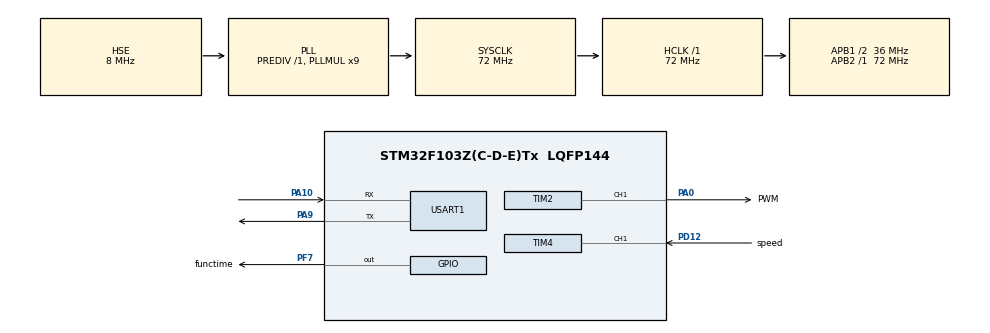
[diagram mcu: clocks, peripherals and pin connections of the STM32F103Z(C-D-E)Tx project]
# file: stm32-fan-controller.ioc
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Dma.Request0=USART1_TX
Dma.USART1_TX.0.Direction=DMA_MEMORY_TO_PERIPH
Dma.USART1_TX.0.Instance=DMA1_Channel4
Dma.USART1_TX.0.MemDataAlignment=DMA_MDATAALIGN_BYTE
Dma.USART1_TX.0.MemInc=DMA_MINC_ENABLE
Dma.USART1_TX.0.Mode=DMA_NORMAL
Dma.USART1_TX.0.PeriphDataAlignment=DMA_PDATAALIGN_BYTE
Dma.USART1_TX.0.PeriphInc=DMA_PINC_DISABLE
Dma.USART1_TX.0.Priority=DMA_PRIORITY_LOW
Mcu.Family=STM32F1
Mcu.Name=STM32F103Z(C-D-E)Tx
Mcu.Package=LQFP144
NVIC.DMA1_Channel4_IRQn=true\:0\:0\:false\:false\:true\:false\:true\:true
NVIC.PriorityGroup=NVIC_PRIORITYGROUP_4
NVIC.TIM2_IRQn=true\:0\:0\:false\:false\:true\:true\:true\:true
NVIC.TIM3_IRQn=true\:0\:0\:false\:false\:true\:true\:true\:true
NVIC.TIM4_IRQn=true\:0\:0\:false\:false\:true\:true\:true\:true
NVIC.USART1_IRQn=true\:0\:0\:false\:false\:true\:true\:true\:true
OSC_IN.Mode=HSE-External-Oscillator
OSC_IN.Signal=RCC_OSC_IN
OSC_OUT.Mode=HSE-External-Oscillator
OSC_OUT.Signal=RCC_OSC_OUT
PA0-WKUP.GPIO_Label=PWM
PA0-WKUP.GPIO_ModeDefaultPP=GPIO_MODE_AF_OD
PA0-WKUP.Signal=S_TIM2_CH1_ETR
PA10.Mode=Asynchronous
PA10.Signal=USART1_RX
PA13.Mode=Serial_Wire
PA13.Signal=SYS_JTMS-SWDIO
PA14.Mode=Serial_Wire
PA14.Signal=SYS_JTCK-SWCLK
PA9.Mode=Asynchronous
PA9.Signal=USART1_TX
PC14-OSC32_IN.Mode=LSE-External-Oscillator
PC14-OSC32_IN.Signal=RCC_OSC32_IN
PC15-OSC32_OUT.Mode=LSE-External-Oscillator
PC15-OSC32_OUT.Signal=RCC_OSC32_OUT
PD12.GPIO_Label=speed
PD12.GPIO_PuPd=GPIO_PULLUP
PD12.Signal=S_TIM4_CH1
PF7.GPIO_Label=functime
PF7.Signal=GPIO_Output
ProjectManager.HeapSize=0x200
ProjectManager.StackSize=0x400
ProjectManager.TargetToolchain=MDK-ARM V5.32
RCC.AHBFreq_Value=72000000
RCC.APB1CLKDivider=RCC_HCLK_DIV2
RCC.APB1Freq_Value=36000000
RCC.APB1TimFreq_Value=72000000
RCC.APB2Freq_Value=72000000
RCC.APB2TimFreq_Value=72000000
RCC.HCLKFreq_Value=72000000
RCC.PLLMUL=RCC_PLL_MUL9
RCC.PLLSourceVirtual=RCC_PLLSOURCE_HSE
RCC.SYSCLKFreq_VALUE=72000000
RCC.SYSCLKSource=RCC_SYSCLKSOURCE_PLLCLK
RCC.USBFreq_Value=72000000
SH.S_TIM2_CH1_ETR.0=TIM2_CH1,PWM Generation1 CH1
SH.S_TIM4_CH1.0=TIM4_CH1,Input_Capture1_from_TI1
TIM2.AutoReloadPreload=TIM_AUTORELOAD_PRELOAD_ENABLE
TIM2.Channel-PWM\ Generation1\ CH1=TIM_CHANNEL_1
TIM2.Period=2879
TIM2.Pulse-PWM\ Generation1\ CH1=287
TIM3.Period=1199
TIM3.Prescaler=1199
TIM4.Channel-Input_Capture1_from_TI1=TIM_CHANNEL_1
TIM4.ICFilter_CH1=15
TIM4.Prescaler=71
USART1.VirtualMode=VM_ASYNC
VP_CRC_VS_CRC.Mode=CRC_Activate
VP_TIM2_VS_ClockSourceINT.Mode=Internal
VP_TIM3_VS_ClockSourceINT.Mode=Internal
VP_TIM4_VS_ClockSourceINT.Mode=Internal
board=custom

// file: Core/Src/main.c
/* USER CODE BEGIN Header */
/**
  ******************************************************************************
  * @file           : main.c
  * @brief          : Main program body
  ******************************************************************************
  * @attention
  *
  * Copyright (c) 2026 STMicroelectronics.
  * All rights reserved.
  *
  * This software is licensed under terms that can be found in the LICENSE file
  * in the root directory of this software component.
  * If no LICENSE file comes with this software, it is provided AS-IS.
  *
  ******************************************************************************
  */
/* USER CODE END Header */
#include "main.h"
#include "crc.h"
#include "dma.h"
#include "tim.h"
#include "usart.h"
#include "gpio.h"

/* USER CODE BEGIN Includes */
#include "math.h"
#include <string.h>
/* USER CODE END Includes */

/* USER CODE BEGIN PTD */
typedef struct{
    uint8_t packageIndex;
    uint16_t fanSpeed;
    uint16_t targetSpeed;
    uint32_t crcresult;
    uint32_t timestamp;
    uint16_t duty;
    float_t P;
    float_t I;
    float_t D;
}systemData_t;
/* USER CODE END PTD */

/* USER CODE BEGIN PM */
#define TX_BUFF_SIZE 12 //uart send data bytes
#define TX_BUFF_DEBUG_SIZE 30 // debug uart send data bytes
#define UART_PERIOD 20 //uart send data period ms
#define OLED_PERIOD 50 //spi oled send data period ms
#define PWM_MAX 2879
#define PWM_MIN 0
#define FANSPEED_MAX 5000 //record
#define INTEGRAL_MAX 3548000 //error
/* USER CODE END PM */

/* USER CODE BEGIN PV */
extern CRC_HandleTypeDef hcrc;
// now TIM2 frequency is 25kHz, counter period 2880
//uint16_t duty_value = 287;

uint16_t ccr_reg_01 = 0;
uint16_t ccr_reg_02 = 0;
uint16_t dif_val = 0;
uint16_t fanspeed = 0;
uint32_t freq_tim4 = 1e6;// TIM4 frequency is 1MHz
systemData_t dataField = {
    .packageIndex = 0,
    .targetSpeed = 3000,  //target speed
    .timestamp = 0,
    .duty = 287,
    .P = 0,
    .I = 0,
    .D = 0
};
uint32_t primask_bit;
//uint8_t g_tx_buffer[TX_BUFF_SIZE];
uint8_t g_tx_buffer[TX_BUFF_DEBUG_SIZE];
uint32_t last_send_time = 0;
HAL_StatusTypeDef status;
uint16_t fanspeed_stored[5] = {0};
uint16_t speed_count = 0;
uint8_t i = 0;
float_t fanspeed_sum = 0;
float_t fanspeed_filter = 0;
uint16_t fanspeed_index = 0;
float_t kp = 0;
float_t ki = 0;
float_t kd = 0;
float_t error_fanspeed = 0;//0 1 2 present e(k-2) e(k-1) e(k)
float_t delta_pwm = 0;
float_t duty_value_new = 0;
float_t error_fanspeed_sum = 0;
float_t ts = 0.02; // tim3 period, influence PID parameter
uint32_t wait_time = 0;
uint32_t raw_int,big_endian_int;
/* USER CODE END PV */

void SystemClock_Config(void);
/* USER CODE BEGIN PFP */
void DataPackAndSend(void);
void DataPackAndSendDebug(void);
/* USER CODE END PFP */

int main(void)
{

  /* USER CODE BEGIN 1 */
    kp = 4.5;// 4.3
    ki = 3.6;//14 or 15
    kd = 15;
  /* USER CODE END 1 */

  /* MCU Configuration--------------------------------------------------------*/

  /* Reset of all peripherals, Initializes the Flash interface and the Systick. */
  HAL_Init();

  /* Configure the system clock */
  SystemClock_Config();

  /* Initialize all configured peripherals */
  MX_GPIO_Init();
  MX_DMA_Init();
  MX_TIM2_Init();
  MX_TIM3_Init();
  MX_TIM4_Init();
  MX_CRC_Init();
  MX_USART1_UART_Init();
  /* USER CODE BEGIN 2 */
  // start TIM2 PWM channel
  HAL_TIM_PWM_Start(&htim2,TIM_CHANNEL_1);
  // start TIM3
  HAL_TIM_Base_Start_IT(&htim3);
  // start TIM4, monitor fan speed
  HAL_TIM_IC_Start_IT(&htim4,TIM_CHANNEL_1);
  HAL_GPIO_WritePin(GPIOF,GPIO_PIN_7,GPIO_PIN_RESET);
  last_send_time = HAL_GetTick();
  wait_time = last_send_time;
  /* USER CODE END 2 */

  /* Infinite loop */
  /* USER CODE BEGIN WHILE */
  while (1)
  {
      if(HAL_GetTick() - last_send_time >= UART_PERIOD)
      {
          dataField.packageIndex++;
          last_send_time = HAL_GetTick();
          // use PF7 to measure function time
          HAL_GPIO_WritePin(GPIOF,GPIO_PIN_7,GPIO_PIN_SET);
          //DataPackAndSend();
          DataPackAndSendDebug();
          HAL_GPIO_WritePin(GPIOF,GPIO_PIN_7,GPIO_PIN_RESET);
      }
      /*
      if(HAL_GetTick() - wait_time >= 8000)
      {
          dataField.targetSpeed = 3000;
      }*/
    /* USER CODE END WHILE */

  }
}

void SystemClock_Config(void)
{
  RCC_OscInitTypeDef RCC_OscInitStruct = {0};
  RCC_ClkInitTypeDef RCC_ClkInitStruct = {0};

  /** Initializes the RCC Oscillators according to the specified parameters
  * in the RCC_OscInitTypeDef structure.
  */
  RCC_OscInitStruct.OscillatorType = RCC_OSCILLATORTYPE_HSE;
  RCC_OscInitStruct.HSEState = RCC_HSE_ON;
  RCC_OscInitStruct.HSEPredivValue = RCC_HSE_PREDIV_DIV1;
  RCC_OscInitStruct.HSIState = RCC_HSI_ON;
  RCC_OscInitStruct.PLL.PLLState = RCC_PLL_ON;
  RCC_OscInitStruct.PLL.PLLSource = RCC_PLLSOURCE_HSE;
  RCC_OscInitStruct.PLL.PLLMUL = RCC_PLL_MUL9;
  if (HAL_RCC_OscConfig(&RCC_OscInitStruct) != HAL_OK)
  {
    Error_Handler();
  }

  /** Initializes the CPU, AHB and APB buses clocks
  */
  RCC_ClkInitStruct.ClockType = RCC_CLOCKTYPE_HCLK|RCC_CLOCKTYPE_SYSCLK
                              |RCC_CLOCKTYPE_PCLK1|RCC_CLOCKTYPE_PCLK2;
  RCC_ClkInitStruct.SYSCLKSource = RCC_SYSCLKSOURCE_PLLCLK;
  RCC_ClkInitStruct.AHBCLKDivider = RCC_SYSCLK_DIV1;
  RCC_ClkInitStruct.APB1CLKDivider = RCC_HCLK_DIV2;
  RCC_ClkInitStruct.APB2CLKDivider = RCC_HCLK_DIV1;

  if (HAL_RCC_ClockConfig(&RCC_ClkInitStruct, FLASH_LATENCY_2) != HAL_OK)
  {
    Error_Handler();
  }
}

/* USER CODE BEGIN 4 */
// TIM3 interrupt function
void HAL_TIM_PeriodElapsedCallback(TIM_HandleTypeDef *htim)
{
    if(htim->Instance == TIM3)
    {
        // moving average fan speed
        /*
        if(speed_count < 5)
        {
            fanspeed_stored[speed_count] = dataField.fanSpeed;//risk? access the same time?
            speed_count++;
            fanspeed_sum = 0;
            for(i = 0;i < speed_count;i++)
            {
                fanspeed_sum += fanspeed_stored[i];
            }
            fanspeed_filter = fanspeed_sum / speed_count;
        }
        else
        {
            fanspeed_stored[fanspeed_index % 5] = dataField.fanSpeed;
            fanspeed_index++;
            fanspeed_sum = 0;
            for(i = 0;i < 5;i++)
            {
                fanspeed_sum += fanspeed_stored[i];
            }
            fanspeed_filter = fanspeed_sum / 5;
        }*/
        //PID algorithm,modify TIM2 PWM duty
        //error_fanspeed = (float_t)dataField.targetSpeed - fanspeed_filter;
        error_fanspeed = (float_t)dataField.targetSpeed - (float_t)dataField.fanSpeed;
        if(fabsf(error_fanspeed) < 800.0f)
        {
            error_fanspeed_sum += error_fanspeed;
            if(error_fanspeed_sum > INTEGRAL_MAX)
                error_fanspeed_sum = INTEGRAL_MAX;
            if(error_fanspeed_sum < -INTEGRAL_MAX)
                error_fanspeed_sum = -INTEGRAL_MAX;
        }
        else
        {
            error_fanspeed_sum = 0.0f;
        }
        dataField.P = kp * error_fanspeed;
        dataField.I = ki * error_fanspeed_sum * ts;
        duty_value_new = dataField.P;
        //duty_value_new = dataField.P + dataField.I;
        if(duty_value_new < PWM_MIN)
        {
            duty_value_new = PWM_MIN;
        }
        else if(duty_value_new > PWM_MAX)
        {
            duty_value_new = PWM_MAX;
        }
        dataField.duty = (uint16_t)duty_value_new;
        __HAL_TIM_SET_COMPARE(&htim2,TIM_CHANNEL_1,dataField.duty);// change TIM2 PWM duty
    }
}
// TIM4 interrupt function
void HAL_TIM_IC_CaptureCallback(TIM_HandleTypeDef *htim)
{
    if(htim->Instance == TIM4)
    {
        ccr_reg_02 = (uint16_t)HAL_TIM_ReadCapturedValue(&htim4,TIM_CHANNEL_1);
        dif_val = ccr_reg_02 - ccr_reg_01;
        if(dif_val < 1000)
            return;
        dataField.fanSpeed = (uint16_t)round(30 * freq_tim4 /dif_val);
        ccr_reg_01 = ccr_reg_02;
    }
}
// data package and send function
void DataPackAndSend(void)
{
    systemData_t localData;
    uint32_t crcdata[2];
    // close interrupt
    primask_bit = __get_PRIMASK();
    __disable_irq();
    localData = dataField;
    //open interrupt
    __set_PRIMASK(primask_bit);
    //data package
    g_tx_buffer[0] = 0x55;//frame header
    g_tx_buffer[1] = 0xAA;//frame header
    g_tx_buffer[2] = 10;//frame length except header
    g_tx_buffer[3] = localData.packageIndex;//
    g_tx_buffer[4] = (localData.fanSpeed >> 8) & 0xFF;
    g_tx_buffer[5] = localData.fanSpeed & 0xFF;
    g_tx_buffer[6] = (localData.targetSpeed >> 8) & 0xFF;
    g_tx_buffer[7] = localData.targetSpeed & 0xFF;
    //calculate crc
    crcdata[0] = (g_tx_buffer[0] << 24) | (g_tx_buffer[1] << 16) | (g_tx_buffer[2] << 8) | g_tx_buffer[3];
    crcdata[1] = (g_tx_buffer[4] << 24) | (g_tx_buffer[5] << 16) | (g_tx_buffer[6] << 8) | g_tx_buffer[7];
    localData.crcresult = HAL_CRC_Calculate(&hcrc,crcdata,2);
    g_tx_buffer[8] = (localData.crcresult >> 24) & 0xFF;
    g_tx_buffer[9] = (localData.crcresult >> 16) & 0xFF;
    g_tx_buffer[10] = (localData.crcresult >> 8) & 0xFF;
    g_tx_buffer[11] = localData.crcresult & 0xFF;
    //uart send g_tx_buffer
    HAL_UART_Transmit_DMA(&huart1,g_tx_buffer,TX_BUFF_SIZE);
}

void DataPackAndSendDebug(void)
{
    systemData_t localData;
    uint32_t crcdata[7] = {0};
    // close interrupt
    primask_bit = __get_PRIMASK();
    __disable_irq();
    localData = dataField;
    //open interrupt
    __set_PRIMASK(primask_bit);
    //data package
    g_tx_buffer[0] = 0x55;//frame header
    g_tx_buffer[1] = 0xAA;//frame header
    g_tx_buffer[2] = TX_BUFF_DEBUG_SIZE - 2;//frame length except header
    g_tx_buffer[3] = localData.packageIndex;//
    g_tx_buffer[4] = (localData.fanSpeed >> 8) & 0xFF;
    g_tx_buffer[5] = localData.fanSpeed & 0xFF;
    g_tx_buffer[6] = (localData.targetSpeed >> 8) & 0xFF;
    g_tx_buffer[7] = localData.targetSpeed & 0xFF;
    g_tx_buffer[8] = (localData.duty >> 8) & 0xFF;
    g_tx_buffer[9] = localData.duty & 0xFF;
    // change to big-endian
    memcpy(&raw_int, &localData.P, sizeof(float));
    big_endian_int = __REV(raw_int);
    memcpy(&g_tx_buffer[10], &big_endian_int, sizeof(float));
    //g_tx_buffer[10] = (localData.P >> 24) & 0xFF;
    //g_tx_buffer[11] = (localData.P >> 16) & 0xFF;
    //g_tx_buffer[12] = (localData.P >> 8) & 0xFF;
    //g_tx_buffer[13] = localData.P & 0xFF;
    memcpy(&raw_int, &localData.I, sizeof(float));
    big_endian_int = __REV(raw_int);
    memcpy(&g_tx_buffer[14], &big_endian_int, sizeof(float));
    //g_tx_buffer[14] = (localData.I >> 24) & 0xFF;
    //g_tx_buffer[15] = (localData.I >> 16) & 0xFF;
    //g_tx_buffer[16] = (localData.I >> 8) & 0xFF;
    //g_tx_buffer[17] = localData.I & 0xFF;
    memcpy(&raw_int, &localData.D, sizeof(float));
    big_endian_int = __REV(raw_int);
    memcpy(&g_tx_buffer[18], &big_endian_int, sizeof(float));
    //g_tx_buffer[18] = (localData.D >> 24) & 0xFF;
    //g_tx_buffer[19] = (localData.D >> 16) & 0xFF;
    //g_tx_buffer[20] = (localData.D >> 8) & 0xFF;
    //g_tx_buffer[21] = localData.D & 0xFF;
    localData.timestamp = HAL_GetTick();
    memcpy(&raw_int, &localData.timestamp, sizeof(float));
    big_endian_int = __REV(raw_int);
    memcpy(&g_tx_buffer[22], &big_endian_int, sizeof(float));
    //g_tx_buffer[22] = (localData.timestamp >> 24 ) & 0xFF;
    //g_tx_buffer[23] = (localData.timestamp >> 16 ) & 0xFF;
    //g_tx_buffer[24] = (localData.timestamp >> 8 ) & 0xFF;
    //g_tx_buffer[25] = localData.timestamp & 0xFF;
    //calculate crc
    crcdata[0] = (g_tx_buffer[0] << 24) | (g_tx_buffer[1] << 16) | (g_tx_buffer[2] << 8) | g_tx_buffer[3];
    crcdata[1] = (g_tx_buffer[4] << 24) | (g_tx_buffer[5] << 16) | (g_tx_buffer[6] << 8) | g_tx_buffer[7];
    crcdata[2] = (g_tx_buffer[8] << 24) | (g_tx_buffer[9] << 16) | (g_tx_buffer[10] << 8) | g_tx_buffer[11];
    crcdata[3] = (g_tx_buffer[12] << 24) | (g_tx_buffer[13] << 16) | (g_tx_buffer[14] << 8) | g_tx_buffer[15];
    crcdata[4] = (g_tx_buffer[16] << 24) | (g_tx_buffer[17] << 16) | (g_tx_buffer[18] << 8) | g_tx_buffer[19];
    crcdata[5] = (g_tx_buffer[20] << 24) | (g_tx_buffer[21] << 16) | (g_tx_buffer[22] << 8) | g_tx_buffer[23];
    crcdata[6] = (g_tx_buffer[24] << 24) | (g_tx_buffer[25] << 16) | 0x0000;
    localData.crcresult = HAL_CRC_Calculate(&hcrc,crcdata,7);
    g_tx_buffer[26] = (localData.crcresult >> 24) & 0xFF;
    g_tx_buffer[27] = (localData.crcresult >> 16) & 0xFF;
    g_tx_buffer[28] = (localData.crcresult >> 8) & 0xFF;
    g_tx_buffer[29] = localData.crcresult & 0xFF;
    //uart send g_tx_buffer
    HAL_UART_Transmit_DMA(&huart1,g_tx_buffer,TX_BUFF_DEBUG_SIZE);
}
/* USER CODE END 4 */

void Error_Handler(void)
{
  __disable_irq();
  while (1)
  {
  }
}
